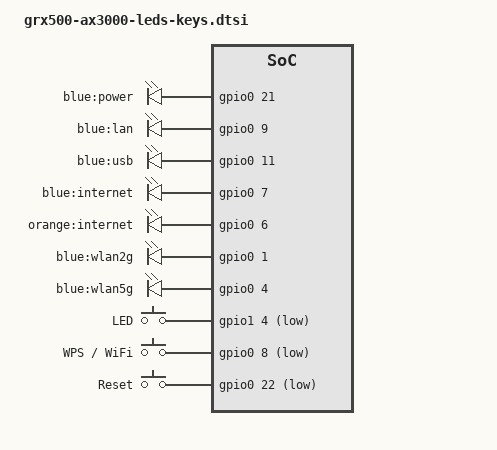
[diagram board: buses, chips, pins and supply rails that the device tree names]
// SPDX-License-Identifier: GPL-2.0-only
/* Wiring from the DTB embedded in AX3000(US) V1 stock firmware 230831. */
#include <dt-bindings/gpio/gpio.h>
#include <dt-bindings/input/input.h>

/ {
	aliases {
		led-boot = &led_power;
		led-failsafe = &led_power;
		led-running = &led_power;
		led-upgrade = &led_power;
	};

	leds {
		compatible = "gpio-leds";

		led_power: power {
			label = "blue:power";
			gpios = <&gpio0 21 GPIO_ACTIVE_HIGH>;
			default-state = "on";
		};

		lan {
			label = "blue:lan";
			gpios = <&gpio0 9 GPIO_ACTIVE_HIGH>;
		};

		usb {
			label = "blue:usb";
			gpios = <&gpio0 11 GPIO_ACTIVE_HIGH>;
		};

		internet-blue {
			label = "blue:internet";
			gpios = <&gpio0 7 GPIO_ACTIVE_HIGH>;
		};

		internet-orange {
			label = "orange:internet";
			gpios = <&gpio0 6 GPIO_ACTIVE_HIGH>;
		};

		wifi2g {
			label = "blue:wlan2g";
			gpios = <&gpio0 1 GPIO_ACTIVE_HIGH>;
		};

		wifi5g {
			label = "blue:wlan5g";
			gpios = <&gpio0 4 GPIO_ACTIVE_HIGH>;
		};
	};

	keys {
		compatible = "gpio-keys-polled";
		poll-interval = <100>;

		led-toggle {
			label = "LED";
			gpios = <&gpio1 4 GPIO_ACTIVE_LOW>;
			/* Stock keycode 238 maps to "ledswitch" in its module. */
			linux,code = <KEY_LIGHTS_TOGGLE>;
		};

		wps {
			label = "WPS / WiFi";
			gpios = <&gpio0 8 GPIO_ACTIVE_LOW>;
			linux,code = <KEY_WPS_BUTTON>;
		};

		reset {
			label = "Reset";
			gpios = <&gpio0 22 GPIO_ACTIVE_LOW>;
			linux,code = <KEY_RESTART>;
		};
	};
};
